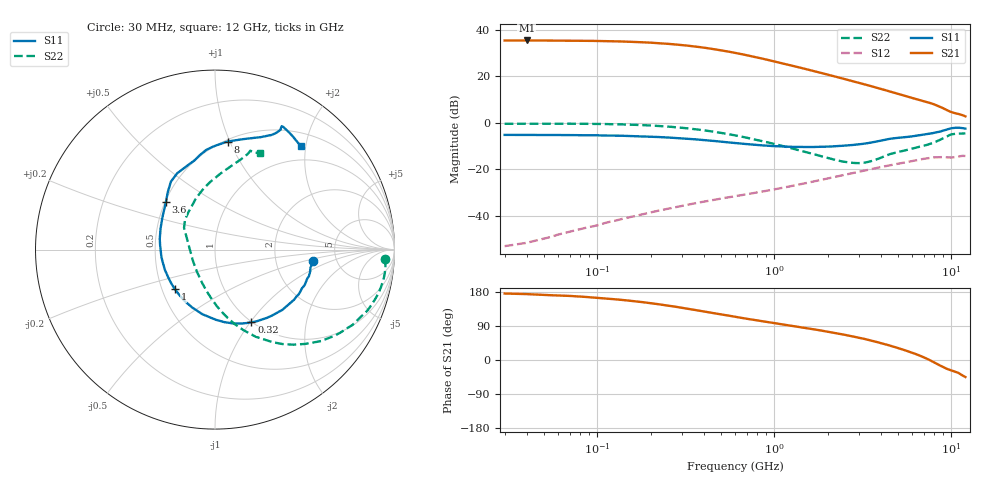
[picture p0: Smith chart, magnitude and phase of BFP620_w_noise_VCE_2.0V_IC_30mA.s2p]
! Infineon Technologies  Discrete & RF Semiconductors
! BFP620
! VCE =  2.0 V,  IC =  30 mA
! Common Emitter S-Parameters:  Nov 2015
# GHz  S  MA  R  50
!  f  S11  S21  S12  S22
! GHz  MAG  ANG  MAG  ANG  MAG  ANG  MAG  ANG
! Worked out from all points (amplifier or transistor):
!   239 points, 30 MHz to 12 GHz, reference 50 ohm
!   highest |S21| = 35.4 dB at 40 MHz (marker M1)
!   |S21| within 3 dB of that: start of sweep to 391.8 MHz
!   unconditionally stable (mu >= 1): 2.487 GHz to end of sweep
!   at 300 MHz: K = 0.37, MSG = 34.6 dB, |S12| = -35.8 dB
!   at 1.88 GHz: K = 0.96, MSG = 22.8 dB, |S12| = -24.4 dB
!   at 12 GHz: K = 1.09, MAG = 6.7 dB, |S12| = -14.3 dB
!   lowest NFmin = 1.15 dB at 450 MHz
!   S11 on the Smith chart (normalised r, x): 30 MHz: 3.31, -0.59; 320 MHz: 0.99, -1.01; 1 GHz: 0.58, -0.28; 3.6 GHz: 0.51, +0.31; 8 GHz: 0.52, +0.98; 12 GHz: 0.73, +1.91
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0.03  0.5478 -6.6  58.97 175.4  0.0022 79.1  0.9491 -3.0
0.04  0.5453 -8.9  59.14 173.9  0.0026 77.5  0.9527 -4.7
0.05  0.5412 -10.7  58.91 171.5  0.0032 77.2  0.9547 -6.3
0.07  0.5439 -15.8  58.74 169.1  0.0045 78.7  0.9537 -9.6
0.085  0.5381 -18.6  58.13 166.6  0.0054 77.7  0.9493 -12.0
0.12  0.5297 -26.2  57.02 161.2  0.0075 76.7  0.9332 -17.4
0.15  0.5215 -32.4  55.64 156.8  0.0091 75.3  0.9138 -21.9
0.2  0.5034 -41.9  53.04 149.9  0.0117 72.7  0.8735 -28.7
0.24  0.4853 -49.4  50.66 144.8  0.0136 70.7  0.8366 -33.7
0.32  0.4529 -63.4  45.95 135.8  0.017 67.4  0.7612 -42.6
0.42  0.4173 -78.4  40.32 126.4  0.0207 64.5  0.6703 -52.0
0.5  0.3915 -89.1  36.25 120.2  0.0233 62.7  0.6054 -58.3
0.6  0.3669 -101.0  31.99 113.9  0.0262 61.2  0.5353 -65.0
0.8  0.3331 -120.3  25.43 104.2  0.0316 59.7  0.426 -75.5
1  0.3138 -135.5  20.94 97.3  0.0368 58.7  0.3495 -83.7
1.22  0.3033 -149.0  17.45 91.0  0.0425 57.7  0.2891 -91.6
1.64  0.3001 -169.2  13.2 81.7  0.0537 55.5  0.215 -106.3
2.4  0.3184 164.1  9.061 68.0  0.0733 49.7  0.1476 -138.6
3.6  0.38 136.1  5.994 50.2  0.1024 38.3  0.1525 167.6
4.5  0.4514 123.0  4.703 37.8  0.1214 29.6  0.2113 144.7
8  0.606 83.4  2.484 -6.5  0.1799 -6.3  0.3777 94.1
12  0.7483 50.2  1.372 -44.9  0.1927 -39.2  0.592 64.8
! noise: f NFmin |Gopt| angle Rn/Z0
0.45  1.15  0.14  -158  0.1
0.9  1.15  0.17  -148  0.1
1.9  1.16  0.21  -139  0.11
2.4  1.18  0.22  -136  0.11
3.5  1.23  0.3  -99  0.17
5.5  1.48  0.33  -84  0.22
10  1.86  0.62  -46  0.9
